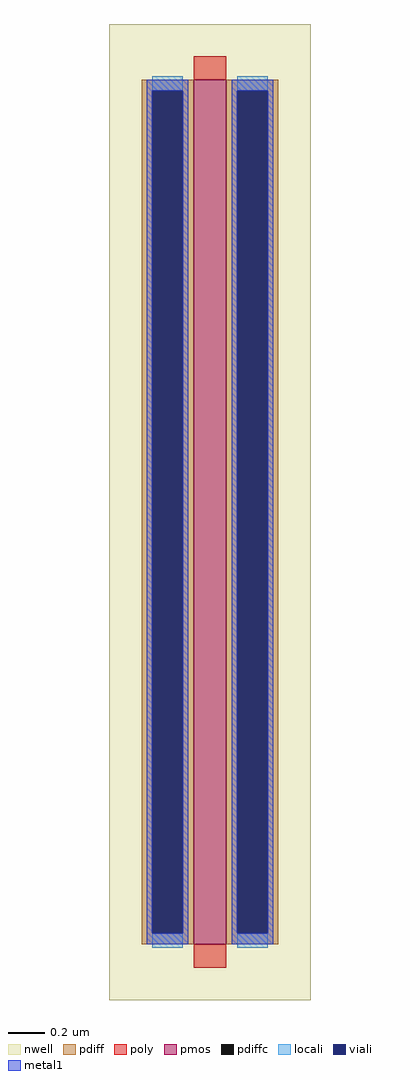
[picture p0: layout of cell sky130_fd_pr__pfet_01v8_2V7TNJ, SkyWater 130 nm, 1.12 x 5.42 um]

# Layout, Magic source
magic
tech sky130A
<< nwell >>
rect -56 -271 56 271
<< pmos >>
rect -9 -240 9 240
<< pdiff >>
rect -38 234 -9 240
rect -38 -234 -32 234
rect -15 -234 -9 234
rect -38 -240 -9 -234
rect 9 234 38 240
rect 9 -234 15 234
rect 32 -234 38 234
rect 9 -240 38 -234
<< pdiffc >>
rect -32 -234 -15 234
rect 15 -234 32 234
<< poly >>
rect -9 240 9 253
rect -9 -253 9 -240
<< locali >>
rect -32 234 -15 242
rect -32 -242 -15 -234
rect 15 234 32 242
rect 15 -242 32 -234
<< viali >>
rect -32 -234 -15 234
rect 15 -234 32 234
<< metal1 >>
rect -35 234 -12 240
rect -35 -234 -32 234
rect -15 -234 -12 234
rect -35 -240 -12 -234
rect 12 234 35 240
rect 12 -234 15 234
rect 32 -234 35 234
rect 12 -240 35 -234
<< properties >>
string gencell sky130_fd_pr__pfet_01v8
string library sky130
string parameters w 4.8 l 0.18 m 1 nf 1 diffcov 100 polycov 100 guard 0 glc 1 grc 1 gtc 1 gbc 1 tbcov 100 rlcov 100 topc 0 botc 0 poverlap 0 doverlap 1 lmin 0.15 wmin 0.42 compatible {sky130_fd_pr__pfet_01v8  sky130_fd_pr__pfet_01v8_lvt sky130_fd_pr__pfet_01v8_hvt  sky130_fd_pr__pfet_g5v0d10v5} full_metal 1 viasrc 100 viadrn 100 viagate 100 viagb 0 viagr 0 viagl 0 viagt 0
<< end >>
